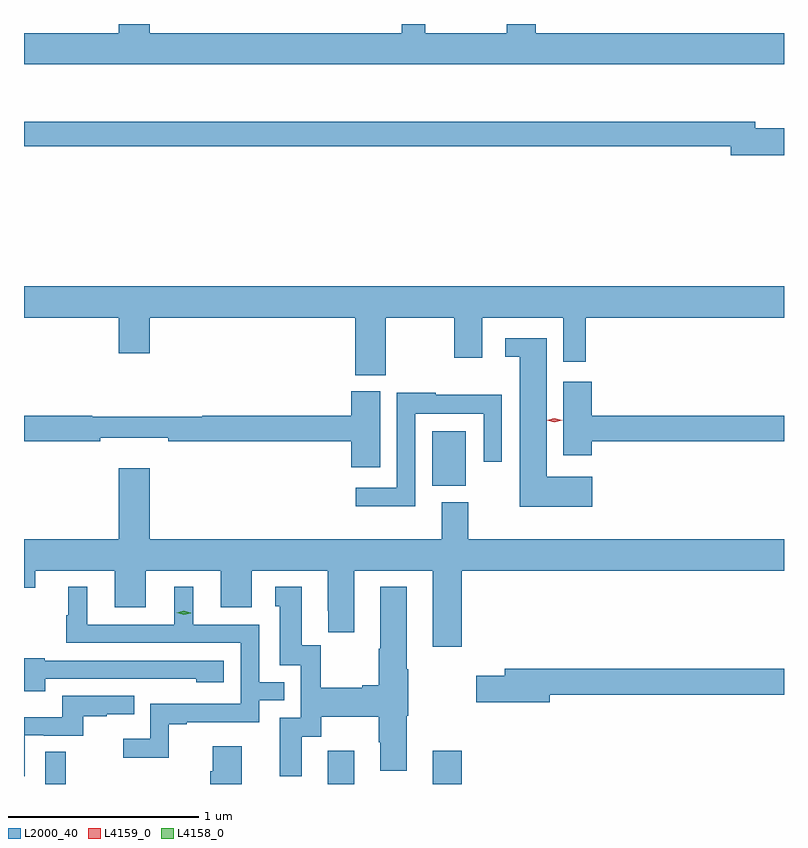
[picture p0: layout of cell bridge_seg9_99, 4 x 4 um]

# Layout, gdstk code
import gdstk
lib = gdstk.Library(unit=1e-6, precision=1e-09)
def R(c, l, rs):  # rectangles x0, y0, x1, y1
    for r in rs: c.add(gdstk.rectangle(r[:2], r[2:], *l))
def P(c, l, *ps):  # polygons
    for p in ps: c.add(gdstk.Polygon(p, *l))
L2000_40 = (2000, 40)
L4158_0 = (4158, 0)
L4159_0 = (4159, 0)

bridge_seg9_99 = lib.new_cell('bridge_seg9_99')
R(bridge_seg9_99, L2000_40, [(644.142,1216.609,644.251,1216.778), (645.629,1216.609,645.769,1216.783), (646.181,1216.609,646.334,1216.783), (646.178,1218.179,646.354,1218.466)])
P(bridge_seg9_99, L2000_40, [(648.03,1220.56),(646.724,1220.56),(646.724,1220.609),(646.571,1220.609),(646.571,1220.56),(646.141,1220.56),(646.141,1220.609),(646.019,1220.609),(646.019,1220.56),(644.692,1220.56),(644.692,1220.609),(644.528,1220.609),(644.528,1220.56),(644.03,1220.56),(644.03,1220.396),(648.03,1220.396)],
  [(648.03,1220.061),(647.878,1220.061),(647.878,1220.095),(644.03,1220.095),(644.03,1219.966),(647.75,1219.966),(647.75,1219.919),(648.03,1219.919)],
  [(645.933,1219.064),(646.294,1219.064),(646.294,1218.852),(646.441,1218.852),(646.441,1219.064),(646.868,1219.064),(646.868,1218.831),(646.987,1218.831),(646.987,1219.064),(648.03,1219.064),(648.03,1219.228),(644.03,1219.228),(644.03,1219.064),(644.528,1219.064),(644.528,1218.876),(644.692,1218.876),(644.692,1219.064),(645.773,1219.064),(645.773,1218.76),(645.933,1218.76)],
  [(647.02,1218.226),(646.78,1218.226),(646.78,1218.954),(646.563,1218.954),(646.563,1218.857),(646.64,1218.857),(646.64,1218.068),(647.02,1218.068)],
  [(647.018,1218.412),(648.03,1218.412),(648.03,1218.548),(647.018,1218.548),(647.018,1218.727),(646.868,1218.727),(646.868,1218.339),(647.018,1218.339)],
  [(645.904,1218.675),(645.752,1218.675),(645.752,1218.548),(644.968,1218.548),(644.968,1218.541),(644.39,1218.541),(644.39,1218.548),(644.03,1218.548),(644.03,1218.412),(644.432,1218.412),(644.432,1218.431),(644.788,1218.431),(644.788,1218.412),(645.752,1218.412),(645.752,1218.276),(645.904,1218.276)],
  [(646.089,1218.557),(646.449,1218.557),(646.449,1218.306),(646.545,1218.306),(646.545,1218.658),(646.196,1218.658),(646.196,1218.668),(645.993,1218.668),(645.993,1218.168),(645.777,1218.168),(645.777,1218.071),(646.089,1218.071)],
  [(644.03,1217.642),(644.089,1217.642),(644.089,1217.732),(644.507,1217.732),(644.507,1217.538),(644.671,1217.538),(644.671,1217.732),(645.065,1217.732),(645.065,1217.538),(645.229,1217.538),(645.229,1217.732),(645.629,1217.732),(645.629,1217.521),(645.632,1217.521),(645.632,1217.409),(645.769,1217.409),(645.769,1217.732),(646.181,1217.732),(646.181,1217.331),(646.334,1217.331),(646.334,1217.732),(648.03,1217.732),(648.03,1217.896),(646.369,1217.896),(646.369,1218.091),(646.229,1218.091),(646.229,1217.896),(644.692,1217.896),(644.692,1218.271),(644.528,1218.271),(644.528,1217.896),(644.03,1217.896)],
  [(645.493,1216.858),(645.595,1216.858),(645.595,1216.964),(645.898,1216.964),(645.898,1216.83),(645.905,1216.83),(645.905,1216.68),(646.045,1216.68),(646.045,1216.968),(646.053,1216.968),(646.053,1217.212),(646.045,1217.212),(646.045,1217.647),(645.905,1217.647),(645.905,1217.321),(645.898,1217.321),(645.898,1217.129),(645.809,1217.129),(645.809,1217.116),(645.591,1217.116),(645.591,1217.339),(645.493,1217.339),(645.493,1217.647),(645.353,1217.647),(645.353,1217.544),(645.377,1217.544),(645.377,1217.235),(645.486,1217.235),(645.486,1216.959),(645.377,1216.959),(645.377,1216.65),(645.493,1216.65)],
  [(644.793,1216.923),(644.887,1216.923),(644.887,1216.935),(645.267,1216.935),(645.267,1217.049),(645.401,1217.049),(645.401,1217.145),(645.267,1217.145),(645.267,1217.448),(644.92,1217.448),(644.92,1217.647),(644.822,1217.647),(644.822,1217.448),(644.362,1217.448),(644.362,1217.647),(644.264,1217.647),(644.264,1217.496),(644.253,1217.496),(644.253,1217.352),(645.171,1217.352),(645.171,1217.031),(644.694,1217.031),(644.694,1216.846),(644.553,1216.846),(644.553,1216.748),(644.793,1216.748)],
  [(644.143,1217.163),(644.701,1217.163),(644.701,1217.162),(644.937,1217.162),(644.937,1217.144),(645.082,1217.144),(645.082,1217.259),(644.139,1217.259),(644.139,1217.272),(644.03,1217.272),(644.03,1217.096),(644.143,1217.096)],
  [(646.798,1217.08),(648.03,1217.08),(648.03,1217.216),(646.559,1217.216),(646.559,1217.18),(646.41,1217.18),(646.41,1217.038),(646.798,1217.038)],
  [(644.034,1216.866),(644.134,1216.866),(644.134,1216.863),(644.342,1216.863),(644.342,1216.965),(644.465,1216.965),(644.465,1216.976),(644.609,1216.976),(644.609,1217.073),(644.232,1217.073),(644.232,1216.961),(644.03,1216.961),(644.03,1216.649),(644.034,1216.649)],
  [(645.175,1216.807),(645.023,1216.807),(645.023,1216.677),(645.011,1216.677),(645.011,1216.609),(645.175,1216.609)])
P(bridge_seg9_99, L4158_0, [(644.871,1217.5),(644.835,1217.511),(644.835,1217.511),(644.835,1217.511),(644.871,1217.52),(644.907,1217.51),(644.907,1217.51),(644.907,1217.509)])
P(bridge_seg9_99, L4159_0, [(646.822,1218.514),(646.782,1218.523),(646.782,1218.523),(646.782,1218.524),(646.822,1218.534),(646.863,1218.524),(646.863,1218.524),(646.863,1218.524)])

lib.write_gds('bridge_seg9_99.gds')
